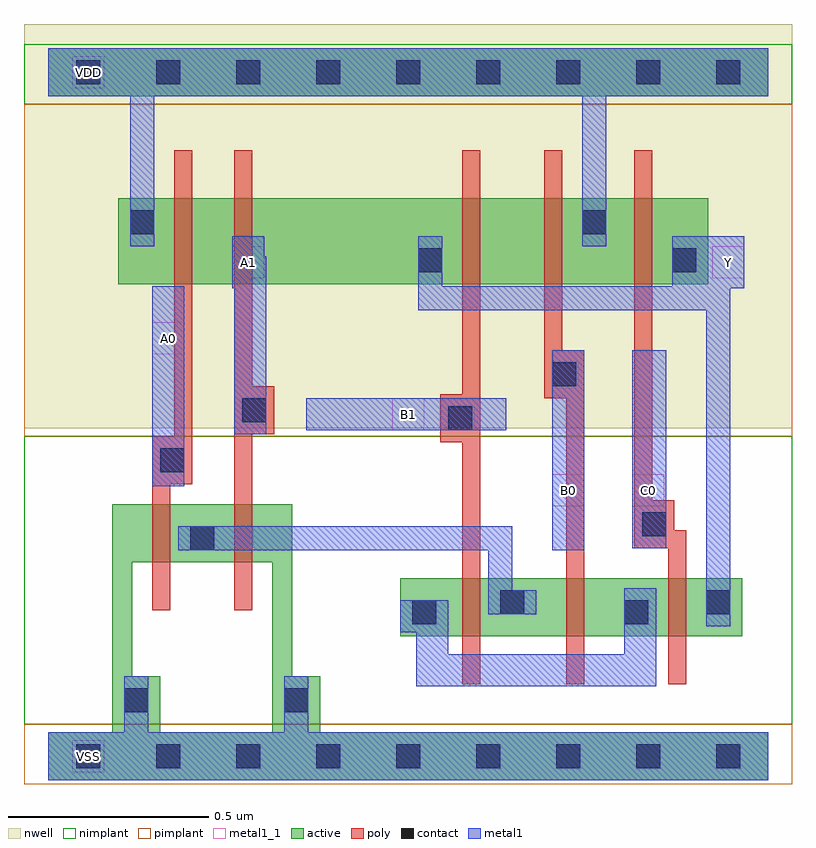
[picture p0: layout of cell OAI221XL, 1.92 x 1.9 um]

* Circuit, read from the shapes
.subckt OAI221XL A0 A1 B0 B1 C0 VDD VSS Y
M1 n1 A0 VSS VSS nfet w=0.145u l=0.045u
M2 VSS A1 n1 VSS nfet w=0.145u l=0.045u
M3 n1 B1 n2 VSS nfet w=0.145u l=0.045u
M4 n2 B0 n1 VSS nfet w=0.145u l=0.045u
M5 Y C0 n2 VSS nfet w=0.145u l=0.045u
M6 n3 A0 VDD VDD pfet w=0.215u l=0.045u
M7 Y A1 n3 VDD pfet w=0.215u l=0.045u
M8 n4 B1 Y VDD pfet w=0.215u l=0.045u
M9 VDD B0 n4 VDD pfet w=0.215u l=0.045u
M10 Y C0 VDD VDD pfet w=0.215u l=0.045u
.ends

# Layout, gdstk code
import gdstk
lib = gdstk.Library(unit=1e-6, precision=5e-10)
def R(c, l, rs):  # rectangles x0, y0, x1, y1
    for r in rs: c.add(gdstk.rectangle(r[:2], r[2:], *l))
def A(c, l, x, y, w, h, nx, ny, dx, dy):  # array of equal rectangles
    R(c, l, [(x+i*dx, y+j*dy, x+i*dx+w, y+j*dy+h) for i in range(nx) for j in range(ny)])
def P(c, l, *ps):  # polygons
    for p in ps: c.add(gdstk.Polygon(p, *l))
active = (1, 0)
nwell = (2, 0)
poly = (3, 0)
nimplant = (4, 0)
pimplant = (5, 0)
contact = (6, 0)
metal1 = (7, 0)
metal1_1 = (7, 1)

oai221xl = lib.new_cell('OAI221XL')
R(oai221xl, active, [(0.88,0.3,1.735,0.445), (0.175,1.18,1.65,1.395), (0,1.65,1.8,1.77)])
P(oai221xl, active, [(0.16,0.63),(0.61,0.63),(0.61,0.2),(0.68,0.2),(0.68,0.06),(1.8,0.06),(1.8,-0.06),(0,-0.06),(0,0.06),(0.16,0.06),(0.16,0.485),(0.21,0.485),(0.21,0.2),(0.28,0.2),(0.28,0.06),(0.56,0.06),(0.56,0.485),(0.16,0.485)])
R(oai221xl, nwell, [(-0.06,0.82,1.86,1.83)])
P(oai221xl, poly, [(0.315,1.515),(0.36,1.515),(0.36,0.68),(0.305,0.68),(0.305,0.365),(0.26,0.365),(0.26,0.8),(0.315,0.8)],
  [(0.465,1.515),(0.51,1.515),(0.51,0.925),(0.565,0.925),(0.565,0.805),(0.51,0.805),(0.51,0.365),(0.465,0.365)],
  [(1.035,1.515),(1.08,1.515),(1.08,0.18),(1.035,0.18),(1.035,0.785),(0.98,0.785),(0.98,0.905),(1.035,0.905)],
  [(1.24,1.515),(1.285,1.515),(1.285,1.015),(1.34,1.015),(1.34,0.18),(1.295,0.18),(1.295,0.895),(1.24,0.895)],
  [(1.465,1.515),(1.51,1.515),(1.51,0.64),(1.565,0.64),(1.565,0.565),(1.595,0.565),(1.595,0.18),(1.55,0.18),(1.55,0.52),(1.465,0.52)])
R(oai221xl, nimplant, [(-0.06,0.08,1.86,0.8), (-0.06,1.63,1.86,1.78)])
R(oai221xl, pimplant, [(-0.06,-0.07,1.86,0.08), (-0.06,0.8,1.86,1.63)])
A(oai221xl, contact, 0.07, -0.03, 0.06, 0.06, 9, 2, 0.2, 1.71)
R(oai221xl, contact, [(0.19,0.11,0.25,0.17), (0.59,0.11,0.65,0.17), (0.91,0.33,0.97,0.39), (1.44,0.33,1.5,0.39), (1.13,0.355,1.19,0.415), (1.645,0.355,1.705,0.415), (0.355,0.515,0.415,0.575), (1.485,0.55,1.545,0.61), (0.28,0.71,0.34,0.77), (1,0.815,1.06,0.875), (0.485,0.835,0.545,0.895), (1.26,0.925,1.32,0.985), (0.925,1.21,0.985,1.27), (1.56,1.21,1.62,1.27), (0.205,1.305,0.265,1.365), (1.335,1.305,1.395,1.365)])
R(oai221xl, metal1, [(1.26,0.515,1.34,1.015), (1.46,0.52,1.545,1.015), (0.26,0.675,0.34,1.175), (0.645,0.815,1.145,0.895)])
P(oai221xl, metal1, [(0,1.77),(1.8,1.77),(1.8,1.65),(1.395,1.65),(1.395,1.275),(1.335,1.275),(1.335,1.65),(0.265,1.65),(0.265,1.275),(0.205,1.275),(0.205,1.65),(0,1.65)],
  [(0.925,1.3),(0.985,1.3),(0.985,1.175),(1.56,1.175),(1.56,1.3),(1.74,1.3),(1.74,1.17),(1.705,1.17),(1.705,0.325),(1.645,0.325),(1.645,1.115),(0.925,1.115)],
  [(0.46,1.3),(0.54,1.3),(0.54,1.25),(0.545,1.25),(0.545,0.805),(0.465,0.805),(0.465,1.17),(0.46,1.17)],
  [(0.325,0.575),(1.16,0.575),(1.16,0.415),(1.22,0.415),(1.22,0.355),(1.1,0.355),(1.1,0.515),(0.325,0.515)],
  [(0.88,0.39),(1,0.39),(1,0.255),(1.44,0.255),(1.44,0.42),(1.52,0.42),(1.52,0.175),(0.92,0.175),(0.92,0.31),(0.88,0.31)],
  [(0.19,0.2),(0.25,0.2),(0.25,0.06),(0.59,0.06),(0.59,0.2),(0.65,0.2),(0.65,0.06),(1.8,0.06),(1.8,-0.06),(0,-0.06),(0,0.06),(0.19,0.06)])
R(oai221xl, metal1_1, [(0.06,-0.04,0.14,0.04), (1.26,0.625,1.34,0.705), (1.46,0.625,1.54,0.705), (0.86,0.815,0.94,0.895), (0.26,1.005,0.34,1.085), (0.46,1.195,0.54,1.275), (1.66,1.195,1.74,1.275), (0.06,1.67,0.14,1.75)])
oai221xl.add(gdstk.Label('Y', (1.7,1.235), layer=7, texttype=1))
oai221xl.add(gdstk.Label('A0', (0.3,1.045), layer=7, texttype=1))
oai221xl.add(gdstk.Label('B1', (0.9,0.855), layer=7, texttype=1))
oai221xl.add(gdstk.Label('A1', (0.5,1.235), layer=7, texttype=1))
oai221xl.add(gdstk.Label('B0', (1.3,0.665), layer=7, texttype=1))
oai221xl.add(gdstk.Label('C0', (1.5,0.665), layer=7, texttype=1))
oai221xl.add(gdstk.Label('VDD', (0.1,1.71), layer=7, texttype=1))
oai221xl.add(gdstk.Label('VSS', (0.1,0), layer=7, texttype=1))
oai221xl.add(gdstk.Label('OAI221XL', (0,0), layer=63, texttype=0))

lib.write_gds('OAI221XL.gds')
